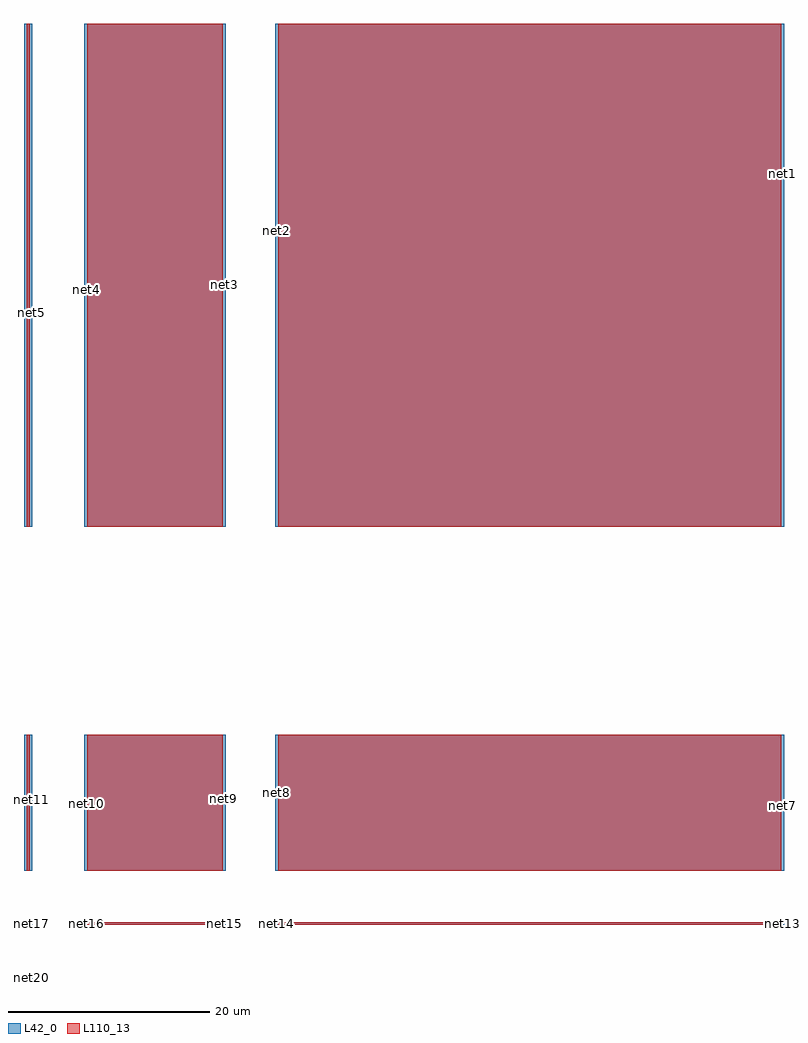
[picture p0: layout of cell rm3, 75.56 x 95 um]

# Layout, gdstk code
import gdstk
lib = gdstk.Library(unit=1e-6, precision=1e-09)
def R(c, l, rs):  # rectangles x0, y0, x1, y1
    for r in rs: c.add(gdstk.rectangle(r[:2], r[2:], *l))
L42_0 = (42, 0)
L110_13 = (110, 13)

rm3_cdns_630918095510 = lib.new_cell('rm3_CDNS_630918095510')
R(rm3_cdns_630918095510, L42_0, [(0,0,0.28,0.28), (0,0,0.84,0.28), (0.56,0,0.84,0.28)])
R(rm3_cdns_630918095510, L110_13, [(0.28,0,0.56,0.28)])

rm3_cdns_630918095511 = lib.new_cell('rm3_CDNS_630918095511')
R(rm3_cdns_630918095511, L42_0, [(0,0,0.28,0.28), (0,0,50.56,0.28), (50.28,0,50.56,0.28)])
R(rm3_cdns_630918095511, L110_13, [(0.28,0,50.28,0.28)])

rm3_cdns_630918095512 = lib.new_cell('rm3_CDNS_630918095512')
R(rm3_cdns_630918095512, L42_0, [(0,0,0.28,0.28), (0,0,0.84,0.28), (0.56,0,0.84,0.28)])
R(rm3_cdns_630918095512, L110_13, [(0.28,0,0.56,0.28)])

rm3_cdns_630918095513 = lib.new_cell('rm3_CDNS_630918095513')
R(rm3_cdns_630918095513, L42_0, [(0,0,0.28,0.28), (0,0,14.06,0.28), (13.78,0,14.06,0.28)])
R(rm3_cdns_630918095513, L110_13, [(0.28,0,13.78,0.28)])

rm3_cdns_630918095514 = lib.new_cell('rm3_CDNS_630918095514')
R(rm3_cdns_630918095514, L42_0, [(0,0,0.28,13.5), (0,0,50.56,13.5), (50.28,0,50.56,13.5)])
R(rm3_cdns_630918095514, L110_13, [(0.28,0,50.28,13.5)])

rm3_cdns_630918095515 = lib.new_cell('rm3_CDNS_630918095515')
R(rm3_cdns_630918095515, L42_0, [(0,0,0.28,13.5), (0,0,0.84,13.5), (0.56,0,0.84,13.5)])
R(rm3_cdns_630918095515, L110_13, [(0.28,0,0.56,13.5)])

rm3_cdns_630918095516 = lib.new_cell('rm3_CDNS_630918095516')
R(rm3_cdns_630918095516, L42_0, [(0,0,0.28,13.5), (0,0,14.06,13.5), (13.78,0,14.06,13.5)])
R(rm3_cdns_630918095516, L110_13, [(0.28,0,13.78,13.5)])

rm3_cdns_630918095517 = lib.new_cell('rm3_CDNS_630918095517')
R(rm3_cdns_630918095517, L42_0, [(0,0,0.28,50), (0,0,0.84,50), (0.56,0,0.84,50)])
R(rm3_cdns_630918095517, L110_13, [(0.28,0,0.56,50)])

rm3_cdns_630918095518 = lib.new_cell('rm3_CDNS_630918095518')
R(rm3_cdns_630918095518, L42_0, [(0,0,0.28,50), (0,0,14.06,50), (13.78,0,14.06,50)])
R(rm3_cdns_630918095518, L110_13, [(0.28,0,13.78,50)])

rm3_cdns_630918095519 = lib.new_cell('rm3_CDNS_630918095519')
R(rm3_cdns_630918095519, L42_0, [(0,0,0.28,50), (0,0,50.56,50), (50.28,0,50.56,50)])
R(rm3_cdns_630918095519, L110_13, [(0.28,0,50.28,50)])

rm3 = lib.new_cell('rm3')
rm3.add(gdstk.Reference(rm3_cdns_630918095510, (0,0)))
rm3.add(gdstk.Reference(rm3_cdns_630918095511, (25,5.4)))
rm3.add(gdstk.Reference(rm3_cdns_630918095512, (0,5.4)))
rm3.add(gdstk.Reference(rm3_cdns_630918095513, (6,5.4)))
rm3.add(gdstk.Reference(rm3_cdns_630918095514, (25,10.8)))
rm3.add(gdstk.Reference(rm3_cdns_630918095515, (0,10.8)))
rm3.add(gdstk.Reference(rm3_cdns_630918095516, (6,10.8)))
rm3.add(gdstk.Reference(rm3_cdns_630918095517, (0,45)))
rm3.add(gdstk.Reference(rm3_cdns_630918095518, (6,45)))
rm3.add(gdstk.Reference(rm3_cdns_630918095519, (25,45)))
rm3.add(gdstk.Label('net20', (0.794,0.178), layer=42, texttype=10))
rm3.add(gdstk.Label('net19', (0.044,0.179), layer=42, texttype=10))
rm3.add(gdstk.Label('net1', (75.42,80.094), layer=42, texttype=10))
rm3.add(gdstk.Label('net2', (25.148,74.412), layer=42, texttype=10))
rm3.add(gdstk.Label('net3', (19.965,69.069), layer=42, texttype=10))
rm3.add(gdstk.Label('net4', (6.203,68.603), layer=42, texttype=10))
rm3.add(gdstk.Label('net5', (0.767,66.329), layer=42, texttype=10))
rm3.add(gdstk.Label('net6', (0.057,65.583), layer=42, texttype=10))
rm3.add(gdstk.Label('net7', (75.401,17.277), layer=42, texttype=10))
rm3.add(gdstk.Label('net8', (25.152,18.575), layer=42, texttype=10))
rm3.add(gdstk.Label('net9', (19.883,18.02), layer=42, texttype=10))
rm3.add(gdstk.Label('net10', (6.238,17.491), layer=42, texttype=10))
rm3.add(gdstk.Label('net11', (0.792,17.909), layer=42, texttype=10))
rm3.add(gdstk.Label('net12', (0.028,17.984), layer=42, texttype=10))
rm3.add(gdstk.Label('net13', (75.442,5.523), layer=42, texttype=10))
rm3.add(gdstk.Label('net14', (25.147,5.524), layer=42, texttype=10))
rm3.add(gdstk.Label('net15', (19.928,5.527), layer=42, texttype=10))
rm3.add(gdstk.Label('net16', (6.212,5.528), layer=42, texttype=10))
rm3.add(gdstk.Label('net17', (0.795,5.506), layer=42, texttype=10))
rm3.add(gdstk.Label('net18', (0.051,5.535), layer=42, texttype=10))

lib.write_gds('rm3.gds')
